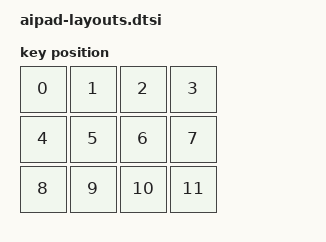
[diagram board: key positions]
#include <physical_layouts.dtsi>

/ {
    aipad_layout: aipad_layout {
        compatible = "zmk,physical-layout";
        display-name = "aipad";
        kscan = <&kscan0>;
        transform = <&aipad_transform>;

        /* Three rows of four. Row 0 is the four ScreenKeys, row 2 column 3 is
         * the encoder position and never fires (see the overlay). */
        keys
            = <&key_physical_attrs 100 100   0   0 0 0 0>
            , <&key_physical_attrs 100 100 100   0 0 0 0>
            , <&key_physical_attrs 100 100 200   0 0 0 0>
            , <&key_physical_attrs 100 100 300   0 0 0 0>
            , <&key_physical_attrs 100 100   0 100 0 0 0>
            , <&key_physical_attrs 100 100 100 100 0 0 0>
            , <&key_physical_attrs 100 100 200 100 0 0 0>
            , <&key_physical_attrs 100 100 300 100 0 0 0>
            , <&key_physical_attrs 100 100   0 200 0 0 0>
            , <&key_physical_attrs 100 100 100 200 0 0 0>
            , <&key_physical_attrs 100 100 200 200 0 0 0>
            , <&key_physical_attrs 100 100 300 200 0 0 0>
            ;
    };
};
